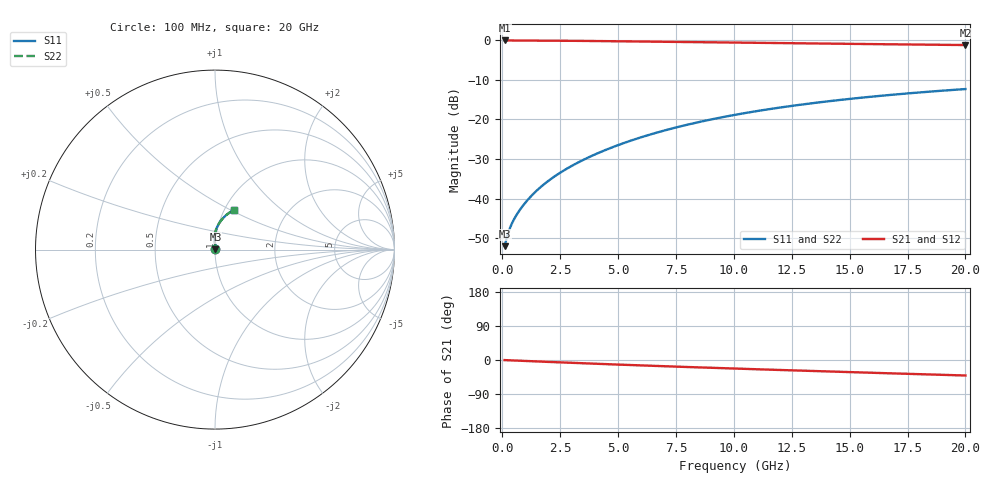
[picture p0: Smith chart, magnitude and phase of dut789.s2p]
! Touchstone file exported from HFSS 2024.1.0
!  File:  C:/UserFiles/LocalFiles/RDL_TSV_Batchsim/temp_RDL_bottom_789_1779861443.aedt
!  Generated:  01:59:53 PM May 27, 2026
!  Design:  RDL_bottom
!  Project:  temp_RDL_bottom_789_1779861443
!  Setup:  Setup1
!  Solution:  Sweep
! Variables:
!  dtsv = 10.80580581um
!  hbump = 3um
!  htsv = 86.12um
!  ldown = 687.46um
!  lrdl = 100um
!  p = 40
!  p1 = 41.77um
!  rhole = 1um
!  t = 450um
!  tdown = 4.55um
!  trdl = 3.915915916um
!  wdown = 27.29um
!  wrdl = 20um
# GHz S MA R 50.000000
! Terminal data exported
! Port[1] = RDL1_T1
! Port[2] = RDL1_T2
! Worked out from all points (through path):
!   200 points, 100 MHz to 20 GHz, reference 50 ohm
!   highest |S21| = -0.02 dB at 100 MHz (marker M1); lowest = -1.2 dB at 20 GHz (marker M2)
!   group delay of S21, straight-line fit = 5.59 ps
!   lowest |S11| = -52.1 dB at 100 MHz (marker M3), VSWR 1.01, Z = 50.2 + j0.114 ohm
!   |S11| at or under -10 dB: start of sweep to end of sweep
!   |S22| runs from -52.1 to -12.3 dB; largest |S21 - S12| = 2e-15
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0.1  0.002497 27.1  0.9978 -0.3  0.9978 -0.3  0.002497 27.1
! Gamma 0 0 0 0
! Port Impedance 50 0 50 0
0.2  0.003246 41.4  0.9975 -0.5  0.9975 -0.5  0.003246 41.4
0.3  0.004015 48.8  0.9972 -0.8  0.9972 -0.8  0.004015 48.8
0.4  0.004735 53.7  0.997 -1.0  0.997 -1.0  0.004735 53.7
0.5  0.005422 57.7  0.9968 -1.3  0.9968 -1.3  0.005422 57.7
0.6  0.0061 61.1  0.9966 -1.5  0.9966 -1.5  0.0061 61.1
0.8  0.007476 66.7  0.9962 -2.0  0.9962 -2.0  0.007476 66.7
1.2  0.01039 74.6  0.9953 -3.0  0.9953 -3.0  0.01039 74.6
1.7  0.01432 80.8  0.9937 -4.3  0.9937 -4.3  0.01432 80.8
2.2  0.01854 84.8  0.9917 -5.5  0.9917 -5.5  0.01854 84.8
2.8  0.02397 88.1  0.9888 -7.0  0.9888 -7.0  0.02397 88.1
3.5  0.03084 90.5  0.9848 -8.7  0.9848 -8.7  0.03084 90.5
4.2  0.03825 91.9  0.9803 -10.3  0.9803 -10.3  0.03825 91.9
5  0.04735 92.6  0.9746 -12.1  0.9746 -12.1  0.04735 92.6
5.9  0.0583 92.5  0.968 -14.1  0.968 -14.1  0.05829 92.5
6.8  0.06986 91.9  0.9612 -16.0  0.9612 -16.0  0.06985 91.8
8.4  0.09144 89.6  0.9491 -19.3  0.9491 -19.3  0.09142 89.6
10.1  0.1151 86.3  0.9366 -22.7  0.9366 -22.7  0.1151 86.3
11.7  0.1374 82.9  0.9253 -25.8  0.9253 -25.8  0.1374 82.9
13.4  0.1607 79.1  0.9139 -29.0  0.9139 -29.0  0.1607 79.1
16.7  0.2036 71.7  0.8928 -35.1  0.8928 -35.1  0.2035 71.7
20  0.2425 64.7  0.873 -40.9  0.873 -40.9  0.2424 64.7
